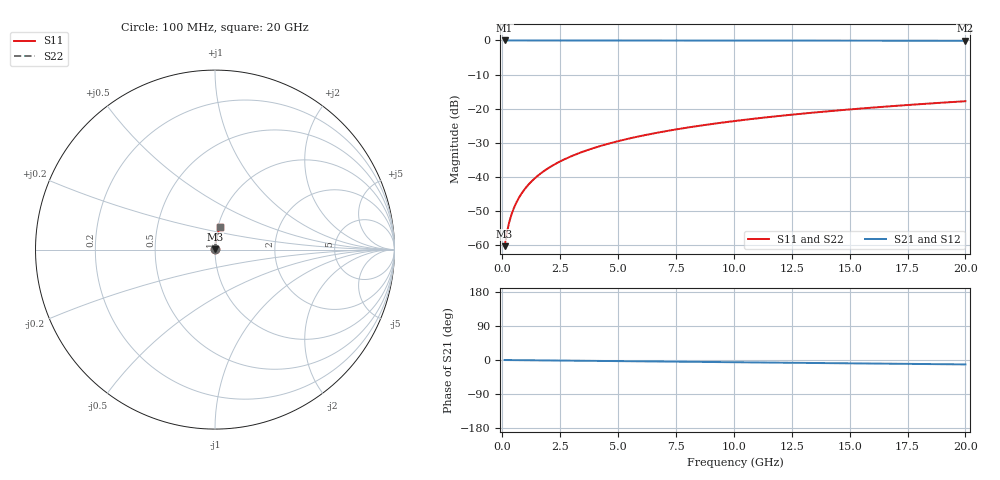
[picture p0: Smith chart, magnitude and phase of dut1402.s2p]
! Touchstone file exported from HFSS 2026.1.0
!  File:  C:/ffzhzh/LocalFiles/Ansys_Project_Files/temp_train_TSV_1402_1783196893_51560.aedt
!  Generated:  04:30:25 AM Jul  5, 2026
!  Design:  TSV
!  Project:  temp_train_TSV_1402_1783196893_51560
! Variables:
!  h_bsmrdl = 2um
!  h_ox = 20um
!  h_rdl = 5um
!  h_sub = 85.2um
!  h_tmrdl = 5um
!  h_tsv = 85.2um
!  h_via = 3um
!  l_bsmrdl = 300um
!  l_sub = 407.78um
!  l_tmrdl = 200um
!  m_sub = 200um
!  pitch = 54.78um
!  r_tsv = 3.89um
!  s_tmrdl = 10um
!  w_bsmrdl = 18um
!  w_sub = 500um
!  w_tmrdl = 12um
!  x_tsv_center1 = 206um
!  x_tsv_center2 = 524um
!  x_tsv_center3 = 736um
!  x_tsv_center4 = 1054um
!  x_tsv_center5 = 1266um
!  x_tsv_center6 = 1584um
# GHz S MA R 50.000000
! Terminal data exported
! Port[1] = TSV1_1_T1
! Port[2] = TSV1_1_T2
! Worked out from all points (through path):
!   200 points, 100 MHz to 20 GHz, reference 50 ohm
!   highest |S21| = -0.01 dB at 100 MHz (marker M1); lowest = -0.1 dB at 20 GHz (marker M2)
!   group delay of S21, straight-line fit = 1.61 ps
!   lowest |S11| = -60.3 dB at 100 MHz (marker M3), VSWR 1.00, Z = 50.1 + j0.0688 ohm
!   |S11| at or under -10 dB: start of sweep to end of sweep
!   |S22| runs from -60.3 to -17.8 dB; largest |S21 - S12| = 3.6e-15
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0.1  0.0009606 45.7  0.9993 -0.1  0.9993 -0.1  0.0009606 45.7
! Gamma 0 0 0 0
! Port Impedance 50 0 50 0
0.2  0.001532 63.6  0.9993 -0.1  0.9993 -0.1  0.001532 63.6
0.3  0.002166 71.2  0.9993 -0.2  0.9993 -0.2  0.002166 71.2
0.4  0.002818 75.4  0.9993 -0.2  0.9993 -0.2  0.002818 75.4
0.5  0.003477 77.9  0.9993 -0.3  0.9993 -0.3  0.003477 77.9
0.7  0.004805 80.9  0.9993 -0.4  0.9993 -0.4  0.004805 80.9
0.8  0.005471 81.8  0.9992 -0.5  0.9992 -0.5  0.005471 81.8
1  0.006807 83.0  0.9992 -0.6  0.9992 -0.6  0.006807 83.0
1.2  0.008145 83.9  0.9992 -0.7  0.9992 -0.7  0.008145 83.9
1.4  0.009484 84.4  0.9992 -0.8  0.9992 -0.8  0.009484 84.4
1.7  0.01149 84.9  0.9991 -1.0  0.9991 -1.0  0.01149 84.9
2  0.0135 85.2  0.999 -1.2  0.999 -1.2  0.0135 85.2
2.7  0.01816 85.4  0.9989 -1.6  0.9989 -1.6  0.01816 85.4
3.5  0.02346 85.3  0.9986 -2.1  0.9986 -2.1  0.02346 85.3
4.2  0.02807 85.1  0.9984 -2.5  0.9984 -2.5  0.02807 85.1
5  0.03331 84.7  0.9981 -3.0  0.9981 -3.0  0.03331 84.7
6.8  0.04501 83.9  0.9974 -4.0  0.9974 -4.0  0.04501 83.9
8.3  0.05467 83.2  0.9967 -4.9  0.9967 -4.9  0.05467 83.2
10.1  0.06621 82.3  0.9958 -5.9  0.9958 -5.9  0.06621 82.3
13.4  0.0872 80.6  0.9939 -7.9  0.9939 -7.9  0.0872 80.6
16.7  0.108 78.9  0.9916 -9.8  0.9916 -9.8  0.108 78.9
20  0.1285 77.1  0.9889 -11.6  0.9889 -11.6  0.1285 77.1
